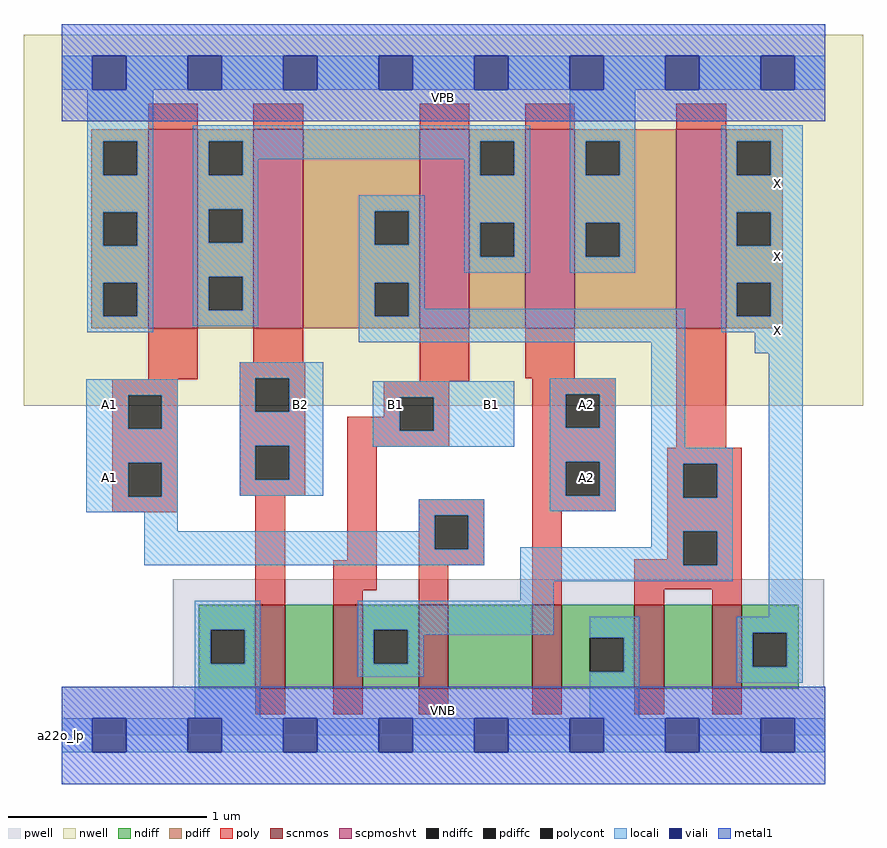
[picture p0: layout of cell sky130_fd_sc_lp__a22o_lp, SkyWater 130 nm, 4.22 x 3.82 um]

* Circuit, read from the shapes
.subckt sky130_fd_sc_lp__a22o_lp A1 A2 B1 B2 VGND VNB VPB VPWR X
XM1 n1 B2 VGND VNB sky130_fd_pr__nfet_01v8 w=0.42 l=0.15
XM2 n2 B1 n1 VNB sky130_fd_pr__nfet_01v8 w=0.42 l=0.15
XM3 n3 A1 n2 VNB sky130_fd_pr__nfet_01v8 w=0.42 l=0.15
XM4 VGND A2 n3 VNB sky130_fd_pr__nfet_01v8 w=0.42 l=0.15
XM5 n4 n2 VGND VNB sky130_fd_pr__nfet_01v8 w=0.42 l=0.15
XM6 X n2 n4 VNB sky130_fd_pr__nfet_01v8 w=0.42 l=0.15
XM7 n5 A1 VPWR VPB sky130_fd_pr__pfet_01v8_hvt w=1 l=0.25
XM8 n2 B2 n5 VPB sky130_fd_pr__pfet_01v8_hvt w=1 l=0.25
XM9 n5 B1 n2 VPB sky130_fd_pr__pfet_01v8_hvt w=1 l=0.25
XM10 VPWR A2 n5 VPB sky130_fd_pr__pfet_01v8_hvt w=1 l=0.25
XM11 X n2 VPWR VPB sky130_fd_pr__pfet_01v8_hvt w=1 l=0.25
.ends

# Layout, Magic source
magic
tech sky130A
magscale 1 2
<< nwell >>
rect -38 331 806 704
<< pwell >>
rect 112 49 767 157
rect 0 0 768 49
<< scnmos >>
rect 195 47 225 131
rect 273 47 303 131
rect 359 47 389 131
rect 473 47 503 131
rect 576 47 606 131
rect 654 47 684 131
<< scpmoshvt >>
rect 87 409 137 609
rect 193 409 243 609
rect 360 409 410 609
rect 466 409 516 609
rect 618 409 668 609
<< ndiff >>
rect 138 106 195 131
rect 138 72 150 106
rect 184 72 195 106
rect 138 47 195 72
rect 225 47 273 131
rect 303 106 359 131
rect 303 72 314 106
rect 348 72 359 106
rect 303 47 359 72
rect 389 47 473 131
rect 503 98 576 131
rect 503 64 531 98
rect 565 64 576 98
rect 503 47 576 64
rect 606 47 654 131
rect 684 103 741 131
rect 684 69 695 103
rect 729 69 741 103
rect 684 47 741 69
<< pdiff >>
rect 30 597 87 609
rect 30 563 42 597
rect 76 563 87 597
rect 30 526 87 563
rect 30 492 42 526
rect 76 492 87 526
rect 30 455 87 492
rect 30 421 42 455
rect 76 421 87 455
rect 30 409 87 421
rect 137 597 193 609
rect 137 563 148 597
rect 182 563 193 597
rect 137 529 193 563
rect 137 495 148 529
rect 182 495 193 529
rect 137 461 193 495
rect 137 427 148 461
rect 182 427 193 461
rect 137 409 193 427
rect 243 527 360 609
rect 243 493 315 527
rect 349 493 360 527
rect 243 455 360 493
rect 243 421 315 455
rect 349 421 360 455
rect 243 409 360 421
rect 410 597 466 609
rect 410 563 421 597
rect 455 563 466 597
rect 410 515 466 563
rect 410 481 421 515
rect 455 481 466 515
rect 410 409 466 481
rect 516 597 618 609
rect 516 563 527 597
rect 561 563 618 597
rect 516 515 618 563
rect 516 481 527 515
rect 561 481 618 515
rect 516 409 618 481
rect 668 597 725 609
rect 668 563 679 597
rect 713 563 725 597
rect 668 526 725 563
rect 668 492 679 526
rect 713 492 725 526
rect 668 455 725 492
rect 668 421 679 455
rect 713 421 725 455
rect 668 409 725 421
<< ndiffc >>
rect 150 72 184 106
rect 314 72 348 106
rect 531 64 565 98
rect 695 69 729 103
<< pdiffc >>
rect 42 563 76 597
rect 42 492 76 526
rect 42 421 76 455
rect 148 563 182 597
rect 148 495 182 529
rect 148 427 182 461
rect 315 493 349 527
rect 315 421 349 455
rect 421 563 455 597
rect 421 481 455 515
rect 527 563 561 597
rect 527 481 561 515
rect 679 563 713 597
rect 679 492 713 526
rect 679 421 713 455
<< poly >>
rect 87 609 137 635
rect 193 609 243 635
rect 360 609 410 635
rect 466 609 516 635
rect 618 609 668 635
rect 87 358 137 409
rect 193 375 243 409
rect 179 359 245 375
rect 51 342 117 358
rect 51 308 67 342
rect 101 308 117 342
rect 51 274 117 308
rect 51 240 67 274
rect 101 240 117 274
rect 179 325 195 359
rect 229 325 245 359
rect 360 356 410 409
rect 466 359 516 409
rect 179 291 245 325
rect 324 340 390 356
rect 324 320 340 340
rect 179 257 195 291
rect 229 257 245 291
rect 179 241 245 257
rect 287 306 340 320
rect 374 306 390 340
rect 287 290 390 306
rect 473 343 557 359
rect 473 309 507 343
rect 541 309 557 343
rect 51 224 117 240
rect 195 131 225 241
rect 287 176 317 290
rect 473 275 557 309
rect 618 289 668 409
rect 473 241 507 275
rect 541 241 557 275
rect 273 146 317 176
rect 359 221 425 237
rect 359 187 375 221
rect 409 187 425 221
rect 359 171 425 187
rect 473 225 557 241
rect 609 273 684 289
rect 609 239 625 273
rect 659 239 684 273
rect 273 131 303 146
rect 359 131 389 171
rect 473 131 503 225
rect 609 205 684 239
rect 609 177 625 205
rect 576 171 625 177
rect 659 171 684 205
rect 576 147 684 171
rect 576 131 606 147
rect 654 131 684 147
rect 195 21 225 47
rect 273 21 303 47
rect 359 21 389 47
rect 473 21 503 47
rect 576 21 606 47
rect 654 21 684 47
<< polycont >>
rect 67 308 101 342
rect 67 240 101 274
rect 195 325 229 359
rect 195 257 229 291
rect 340 306 374 340
rect 507 309 541 343
rect 507 241 541 275
rect 375 187 409 221
rect 625 239 659 273
rect 625 171 659 205
<< locali >>
rect 0 649 31 683
rect 65 649 127 683
rect 161 649 223 683
rect 257 649 319 683
rect 353 649 415 683
rect 449 649 511 683
rect 545 649 607 683
rect 641 649 703 683
rect 737 649 768 683
rect 26 597 92 649
rect 26 563 42 597
rect 76 563 92 597
rect 26 526 92 563
rect 26 492 42 526
rect 76 492 92 526
rect 26 455 92 492
rect 26 421 42 455
rect 76 421 92 455
rect 26 405 92 421
rect 132 597 471 613
rect 132 563 148 597
rect 182 579 421 597
rect 182 563 198 579
rect 132 529 198 563
rect 405 563 421 579
rect 455 563 471 597
rect 132 495 148 529
rect 182 495 198 529
rect 132 461 198 495
rect 132 427 148 461
rect 182 427 198 461
rect 132 411 198 427
rect 299 527 365 543
rect 299 493 315 527
rect 349 493 365 527
rect 299 455 365 493
rect 405 515 471 563
rect 405 481 421 515
rect 455 481 471 515
rect 405 465 471 481
rect 511 597 577 649
rect 511 563 527 597
rect 561 563 577 597
rect 511 515 577 563
rect 511 481 527 515
rect 561 481 577 515
rect 511 465 577 481
rect 663 597 745 613
rect 663 563 679 597
rect 713 563 745 597
rect 663 526 745 563
rect 663 492 679 526
rect 713 492 745 526
rect 299 421 315 455
rect 349 429 365 455
rect 663 455 745 492
rect 349 421 627 429
rect 299 395 627 421
rect 663 421 679 455
rect 713 421 745 455
rect 663 405 745 421
rect 179 359 263 375
rect 25 342 117 358
rect 25 308 67 342
rect 101 308 117 342
rect 25 274 117 308
rect 25 240 67 274
rect 101 240 117 274
rect 179 325 195 359
rect 229 325 263 359
rect 179 291 263 325
rect 179 257 195 291
rect 229 257 263 291
rect 313 340 455 356
rect 313 306 340 340
rect 374 306 455 340
rect 313 290 455 306
rect 491 343 557 359
rect 491 309 507 343
rect 541 309 557 343
rect 179 241 263 257
rect 491 275 557 309
rect 491 241 507 275
rect 541 241 557 275
rect 25 224 117 240
rect 83 205 117 224
rect 359 221 425 237
rect 491 225 557 241
rect 593 289 627 395
rect 697 384 745 405
rect 593 273 675 289
rect 593 239 625 273
rect 659 239 675 273
rect 359 205 375 221
rect 83 187 375 205
rect 409 187 425 221
rect 593 205 675 239
rect 593 189 625 205
rect 83 171 425 187
rect 461 171 625 189
rect 659 171 675 205
rect 461 155 675 171
rect 461 135 495 155
rect 134 106 200 135
rect 134 72 150 106
rect 184 72 200 106
rect 134 17 200 72
rect 298 106 495 135
rect 711 119 745 384
rect 298 72 314 106
rect 348 101 495 106
rect 348 72 364 101
rect 298 59 364 72
rect 531 98 581 119
rect 565 64 581 98
rect 531 17 581 64
rect 679 103 745 119
rect 679 69 695 103
rect 729 69 745 103
rect 679 53 745 69
rect 0 -17 31 17
rect 65 -17 127 17
rect 161 -17 223 17
rect 257 -17 319 17
rect 353 -17 415 17
rect 449 -17 511 17
rect 545 -17 607 17
rect 641 -17 703 17
rect 737 -17 768 17
<< viali >>
rect 31 649 65 683
rect 127 649 161 683
rect 223 649 257 683
rect 319 649 353 683
rect 415 649 449 683
rect 511 649 545 683
rect 607 649 641 683
rect 703 649 737 683
rect 31 -17 65 17
rect 127 -17 161 17
rect 223 -17 257 17
rect 319 -17 353 17
rect 415 -17 449 17
rect 511 -17 545 17
rect 607 -17 641 17
rect 703 -17 737 17
<< metal1 >>
rect 0 683 768 715
rect 0 649 31 683
rect 65 649 127 683
rect 161 649 223 683
rect 257 649 319 683
rect 353 649 415 683
rect 449 649 511 683
rect 545 649 607 683
rect 641 649 703 683
rect 737 649 768 683
rect 0 617 768 649
rect 0 17 768 49
rect 0 -17 31 17
rect 65 -17 127 17
rect 161 -17 223 17
rect 257 -17 319 17
rect 353 -17 415 17
rect 449 -17 511 17
rect 545 -17 607 17
rect 641 -17 703 17
rect 737 -17 768 17
rect 0 -49 768 -17
<< labels >>
flabel pwell s 0 0 768 49 0 FreeSans 200 0 0 0 VNB
port 6 nsew ground bidirectional
flabel nwell s 0 617 768 666 0 FreeSans 200 0 0 0 VPB
port 7 nsew power bidirectional
rlabel comment s 0 0 0 0 4 a22o_lp
flabel metal1 s 0 617 768 666 0 FreeSans 340 0 0 0 VPWR
port 8 nsew power bidirectional
flabel metal1 s 0 0 768 49 0 FreeSans 340 0 0 0 VGND
port 5 nsew ground bidirectional
flabel locali s 223 316 257 350 0 FreeSans 340 0 0 0 B2
port 4 nsew signal input
flabel locali s 319 316 353 350 0 FreeSans 340 0 0 0 B1
port 3 nsew signal input
flabel locali s 415 316 449 350 0 FreeSans 340 0 0 0 B1
port 3 nsew signal input
flabel locali s 511 242 545 276 0 FreeSans 340 0 0 0 A2
port 2 nsew signal input
flabel locali s 511 316 545 350 0 FreeSans 340 0 0 0 A2
port 2 nsew signal input
flabel locali s 31 242 65 276 0 FreeSans 340 0 0 0 A1
port 1 nsew signal input
flabel locali s 31 316 65 350 0 FreeSans 340 0 0 0 A1
port 1 nsew signal input
flabel locali s 703 390 737 424 0 FreeSans 340 0 0 0 X
port 9 nsew signal output
flabel locali s 703 464 737 498 0 FreeSans 340 0 0 0 X
port 9 nsew signal output
flabel locali s 703 538 737 572 0 FreeSans 340 0 0 0 X
port 9 nsew signal output
<< properties >>
string LEFsite unit
string LEFclass CORE
string FIXED_BBOX 0 0 768 666
string GDS_FILE $PDKPATH/libs.ref/sky130_fd_sc_lp/gds/sky130_fd_sc_lp.gds
string LEFsymmetry X Y R90
string GDS_END 1119928
string GDS_START 1112590
<< end >>
